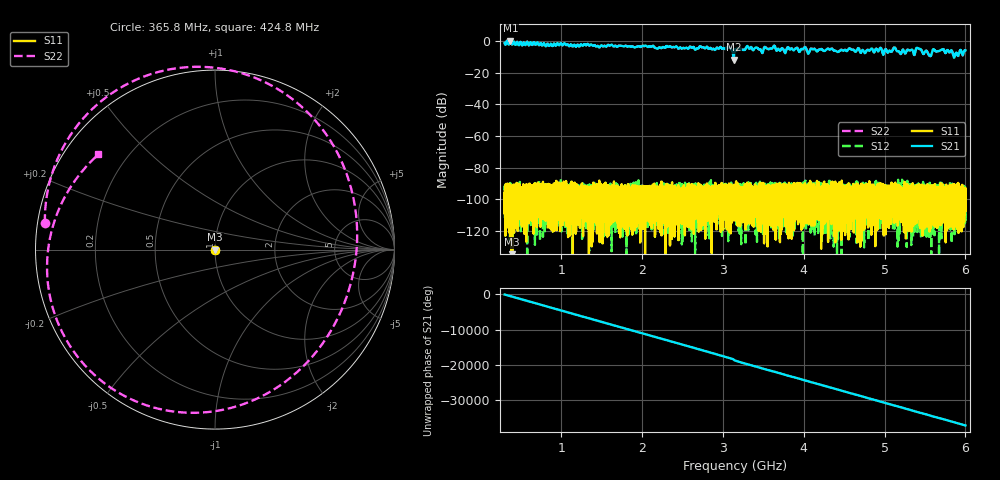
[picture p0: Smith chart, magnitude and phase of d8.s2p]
!Agilent Technologies,N5230C,SG49000117,A.08.50.07
!Agilent N5230C: A.08.50.07
!Date: Sunday, March 17, 2024 06:25:48
!Correction: S11(Off)
!S21(Off)
!S12(Off)
!S22(Off)
!S2P File: Measurements: S11, S21, S12, S22:
# Hz S  RI  R 50
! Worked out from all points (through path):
!   20001 points, 300 MHz to 6 GHz, reference 50 ohm
!   highest |S21| = 0.35 dB at 372.7 MHz (marker M1); lowest = -11.8 dB at 3.133 GHz (marker M2)
!   lowest |S11| = -139.3 dB at 394.1 MHz (marker M3), VSWR 1.00, Z = 50 + j7.21e-06 ohm
!   |S11| at or under -10 dB: start of sweep to end of sweep
!   |S22| runs from -11.8 to 0.4 dB; largest |S21 - S12| = 1
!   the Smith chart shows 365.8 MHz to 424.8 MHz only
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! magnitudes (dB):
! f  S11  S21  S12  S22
! 300 MHz  -98.2  -1.2  -101.2  -1.2
! 372.7 MHz  -103.9  0.3  -97.0  0.4
! 394.1 MHz  -139.3  -2.2  -96.2  -2.2
! 1.25 GHz  -98.1  -2.1  -107.6  -2.1
! 2.2 GHz  -99.6  -4.6  -97.7  -4.6
! 3.068 GHz  -93.3  -4.2  -95.8  -4.1
! 3.133 GHz  -94.6  -11.8  -97.5  -11.8
! 3.15 GHz  -108.4  -5.1  -96.3  -5.1
! 3.319 GHz  -101.2  -4.4  -103.8  -4.3
! 3.473 GHz  -95.3  -5.9  -110.3  -5.9
! 3.623 GHz  -103.4  -3.7  -97.0  -3.6
! 3.763 GHz  -97.4  -7.0  -100.8  -6.9
! 4.1 GHz  -97.9  -4.9  -95.3  -4.8
! 5.05 GHz  -107.0  -6.7  -97.3  -6.7
! 5.122 GHz  -104.5  -4.1  -97.1  -4.1
! 5.184 GHz  -96.4  -6.9  -91.8  -6.9
! 5.358 GHz  -96.4  -7.6  -104.1  -7.6
! 5.417 GHz  -98.6  -4.7  -98.3  -4.7
! 5.558 GHz  -96.8  -9.3  -96.5  -9.3
! 5.711 GHz  -112.3  -5.4  -97.7  -5.4
! 5.88 GHz  -116.9  -7.7  -103.9  -7.8
! 6 GHz  -96.8  -5.9  -102.6  -6.0
